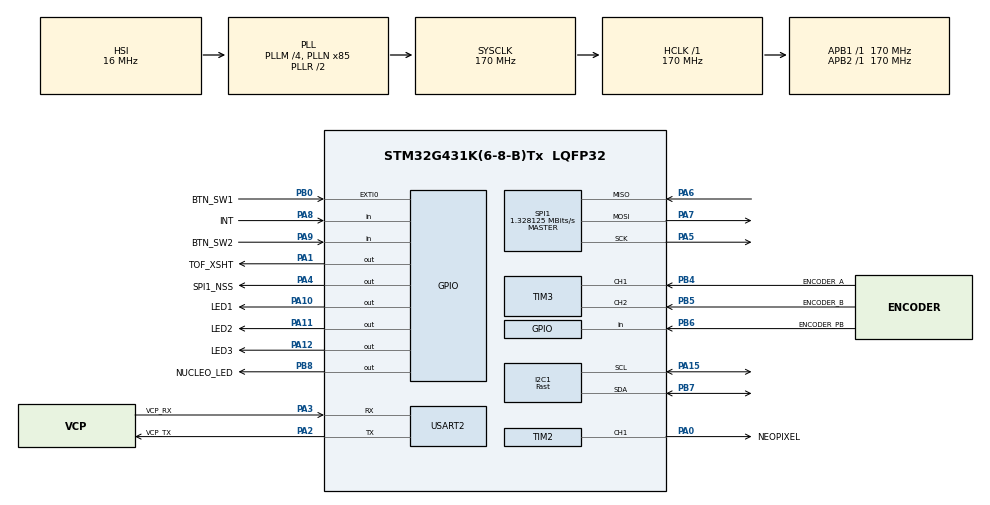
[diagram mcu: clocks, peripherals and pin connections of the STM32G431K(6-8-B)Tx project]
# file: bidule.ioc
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Dma.Request0=TIM2_CH1
Dma.TIM2_CH1.0.Direction=DMA_MEMORY_TO_PERIPH
Dma.TIM2_CH1.0.EventEnable=DISABLE
Dma.TIM2_CH1.0.Instance=DMA1_Channel1
Dma.TIM2_CH1.0.MemDataAlignment=DMA_MDATAALIGN_BYTE
Dma.TIM2_CH1.0.MemInc=DMA_MINC_ENABLE
Dma.TIM2_CH1.0.Mode=DMA_CIRCULAR
Dma.TIM2_CH1.0.PeriphDataAlignment=DMA_PDATAALIGN_WORD
Dma.TIM2_CH1.0.PeriphInc=DMA_PINC_DISABLE
Dma.TIM2_CH1.0.Polarity=HAL_DMAMUX_REQ_GEN_RISING
Dma.TIM2_CH1.0.Priority=DMA_PRIORITY_LOW
Dma.TIM2_CH1.0.RequestNumber=1
Dma.TIM2_CH1.0.SignalID=NONE
Dma.TIM2_CH1.0.SyncEnable=DISABLE
Dma.TIM2_CH1.0.SyncPolarity=HAL_DMAMUX_SYNC_NO_EVENT
Dma.TIM2_CH1.0.SyncRequestNumber=1
Dma.TIM2_CH1.0.SyncSignalID=NONE
FREERTOS.Tasks01=defaultTask,0,128,StartDefaultTask,Default,NULL,Dynamic,NULL,NULL
FREERTOS.configTOTAL_HEAP_SIZE=20000
I2C1.I2C_Speed_Mode=I2C_Fast
I2C1.Timing=0x40621236
Mcu.Family=STM32G4
Mcu.Name=STM32G431K(6-8-B)Tx
Mcu.Package=LQFP32
NVIC.DMA1_Channel1_IRQn=true\:5\:0\:false\:false\:true\:true\:false\:true\:true
NVIC.I2C1_ER_IRQn=true\:5\:0\:false\:false\:true\:true\:true\:true\:true
NVIC.I2C1_EV_IRQn=true\:5\:0\:false\:false\:true\:true\:true\:true\:true
NVIC.PriorityGroup=NVIC_PRIORITYGROUP_4
NVIC.TIM2_IRQn=true\:5\:0\:false\:false\:true\:true\:true\:true\:true
NVIC.TIM6_DAC_IRQn=true\:15\:0\:false\:false\:true\:false\:false\:true\:true
NVIC.TimeBase=TIM6_DAC_IRQn
NVIC.TimeBaseIP=TIM6
PA0.GPIO_Label=NEOPIXEL
PA0.Signal=S_TIM2_CH1
PA1.GPIO_Label=TOF_XSHT
PA1.Signal=GPIO_Output
PA10.GPIO_Label=LED1
PA10.Signal=GPIO_Output
PA11.GPIO_Label=LED2
PA11.Signal=GPIO_Output
PA12.GPIO_Label=LED3
PA12.Signal=GPIO_Output
PA13.GPIO_Label=T_SWDIO
PA13.Mode=Trace_Asynchronous_SW
PA13.Signal=SYS_JTMS-SWDIO
PA14.GPIO_Label=T_SWCLK
PA14.Mode=Trace_Asynchronous_SW
PA14.Signal=SYS_JTCK-SWCLK
PA15.GPIO_Pu=GPIO_PULLUP
PA15.Mode=I2C
PA15.Signal=I2C1_SCL
PA2.GPIO_Label=VCP_TX
PA2.Mode=Asynchronous
PA2.Signal=USART2_TX
PA3.GPIO_Label=VCP_RX
PA3.Mode=Asynchronous
PA3.Signal=USART2_RX
PA4.GPIO_Label=SPI1_NSS
PA4.PinState=GPIO_PIN_SET
PA4.Signal=GPIO_Output
PA5.GPIO_Speed=GPIO_SPEED_FREQ_LOW
PA5.Mode=Full_Duplex_Master
PA5.Signal=SPI1_SCK
PA6.GPIO_Speed=GPIO_SPEED_FREQ_LOW
PA6.Mode=Full_Duplex_Master
PA6.Signal=SPI1_MISO
PA7.GPIO_Speed=GPIO_SPEED_FREQ_LOW
PA7.Mode=Full_Duplex_Master
PA7.Signal=SPI1_MOSI
PA8.GPIO_Label=INT
PA8.Signal=GPIO_Input
PA9.GPIO_Label=BTN_SW2
PA9.GPIO_PuPd=GPIO_PULLUP
PA9.Signal=GPIO_Input
PB0.GPIO_Label=BTN_SW1
PB0.GPIO_PuPd=GPIO_PULLUP
PB0.Signal=GPXTI0
PB3.GPIO_Label=T_SWO
PB3.Mode=Trace_Asynchronous_SW
PB3.Signal=SYS_JTDO-SWO
PB4.GPIO_Label=ENCODER_A
PB4.GPIO_PuPd=GPIO_PULLUP
PB4.Signal=S_TIM3_CH1
PB5.GPIO_Label=ENCODER_B
PB5.GPIO_PuPd=GPIO_PULLUP
PB5.Signal=S_TIM3_CH2
PB6.GPIO_Label=ENCODER_PB
PB6.GPIO_PuPd=GPIO_PULLUP
PB6.Signal=GPIO_Input
PB7.GPIO_Pu=GPIO_PULLUP
PB7.Mode=I2C
PB7.Signal=I2C1_SDA
PB8-BOOT0.GPIO_Label=NUCLEO_LED
PB8-BOOT0.Signal=GPIO_Output
ProjectManager.HeapSize=0x200
ProjectManager.StackSize=0x400
ProjectManager.TargetToolchain=CMake
RCC.ADC12Freq_Value=170000000
RCC.AHBFreq_Value=170000000
RCC.APB1Freq_Value=170000000
RCC.APB1TimFreq_Value=170000000
RCC.APB2Freq_Value=170000000
RCC.APB2TimFreq_Value=170000000
RCC.CortexFreq_Value=170000000
RCC.EXTERNAL_CLOCK_VALUE=12288000
RCC.HCLKFreq_Value=170000000
RCC.HSE_VALUE=8000000
RCC.HSI48_VALUE=48000000
RCC.HSI_VALUE=16000000
RCC.LSE_VALUE=32768
RCC.PLLM=RCC_PLLM_DIV4
RCC.PLLN=85
RCC.SYSCLKFreq_VALUE=170000000
RCC.SYSCLKSource=RCC_SYSCLKSOURCE_PLLCLK
RCC.USBFreq_Value=170000000
RCC.VCOOutputFreq_Value=340000000
SH.S_TIM2_CH1.0=TIM2_CH1,PWM Generation1 CH1
SH.S_TIM3_CH1.0=TIM3_CH1,Encoder_Interface
SH.S_TIM3_CH2.0=TIM3_CH2,Encoder_Interface
SPI1.BaudRatePrescaler=SPI_BAUDRATEPRESCALER_128
SPI1.CLKPhase=SPI_PHASE_2EDGE
SPI1.CLKPolarity=SPI_POLARITY_HIGH
SPI1.CalculateBaudRate=1.328125 MBits/s
SPI1.DataSize=SPI_DATASIZE_8BIT
SPI1.Direction=SPI_DIRECTION_2LINES
SPI1.Mode=SPI_MODE_MASTER
SPI1.VirtualType=VM_MASTER
TIM2.Channel-PWM\ Generation1\ CH1=TIM_CHANNEL_1
TIM2.PeriodNoDither=212
USART2.VirtualMode-Asynchronous=VM_ASYNC
VP_FREERTOS_VS_CMSIS_V1.Mode=CMSIS_V1
VP_SYS_VS_DBSignals.Mode=DisableDeadBatterySignals
VP_SYS_VS_tim6.Mode=TIM6
board=NUCLEO-G431KB

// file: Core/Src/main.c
/* USER CODE BEGIN Header */
/**
 ******************************************************************************
 * @file           : main.c
 * @brief          : Main program body
 ******************************************************************************
 * @attention
 *
 * Copyright (c) 2026 STMicroelectronics.
 * All rights reserved.
 *
 * This software is licensed under terms that can be found in the LICENSE file
 * in the root directory of this software component.
 * If no LICENSE file comes with this software, it is provided AS-IS.
 *
 ******************************************************************************
 */
/* USER CODE END Header */
#include "main.h"
#include "cmsis_os.h"
#include "dma.h"
#include "i2c.h"
#include "spi.h"
#include "tim.h"
#include "usart.h"
#include "gpio.h"

/* USER CODE BEGIN Includes */
#include <stdio.h>
/* USER CODE END Includes */

void SystemClock_Config(void);
void MX_FREERTOS_Init(void);

/* USER CODE BEGIN 0 */
int __io_putchar(int chr) {
	HAL_UART_Transmit(&huart2, (uint8_t*)&chr, 1, HAL_MAX_DELAY);
	return chr;
}

void task_led1(void * unused) {
	(void)unused;	// Rappelle au compilateur qu'on ne se sert pas du paramètre

	for (;;) {
		HAL_GPIO_WritePin(LED1_GPIO_Port, LED1_Pin, GPIO_PIN_SET);
		vTaskDelay(250);		// Délai en millisecondes
		HAL_GPIO_WritePin(LED1_GPIO_Port, LED1_Pin, GPIO_PIN_RESET);
		vTaskDelay(250);
	}
}

void task_led2(void * unused) {
	for (;;) {
		HAL_GPIO_WritePin(LED2_GPIO_Port, LED2_Pin, GPIO_PIN_SET);
		vTaskDelay(250);		// Délai en millisecondes
		HAL_GPIO_WritePin(LED2_GPIO_Port, LED2_Pin, GPIO_PIN_RESET);
		vTaskDelay(250);
	}
}

void task_led3(void * unused) {
	for (;;) {
		HAL_GPIO_WritePin(LED3_GPIO_Port, LED3_Pin, GPIO_PIN_SET);
		vTaskDelay(300);		// Délai en millisecondes
		HAL_GPIO_WritePin(LED3_GPIO_Port, LED3_Pin, GPIO_PIN_RESET);
		vTaskDelay(300);
	}
}
/* USER CODE END 0 */

int main(void)
{

	/* MCU Configuration--------------------------------------------------------*/

	/* Reset of all peripherals, Initializes the Flash interface and the Systick. */
	HAL_Init();

	/* Configure the system clock */
	SystemClock_Config();

	/* Initialize all configured peripherals */
	MX_GPIO_Init();
	MX_DMA_Init();
	MX_I2C1_Init();
	MX_TIM3_Init();
	MX_TIM2_Init();
	MX_USART2_UART_Init();
	MX_SPI1_Init();
	/* USER CODE BEGIN 2 */
	printf("\r\n===== MSC TD RTOS =====\r\n");

	BaseType_t ret;

	ret = xTaskCreate(task_led1, "LED1", 256, NULL, 3, NULL);
	if (ret != pdPASS) {
		printf("Error cannot create task LED1\r\n");
		Error_Handler();
	}

	if (xTaskCreate(task_led2, "LED2", 256, NULL, 2, NULL) != pdPASS) {
		printf("Error cannot create task LED2\r\n");
		Error_Handler();
	}
	if (xTaskCreate(task_led3, "LED3", 256, NULL, 1, NULL) != pdPASS) {
		printf("Error cannot create task LED3\r\n");
		Error_Handler();
	}

	vTaskStartScheduler();	// Cette fonction contient une boucle infinie
	// On n'exécute jamais la suite
	/* USER CODE END 2 */

	/* Call init function for freertos objects (in cmsis_os2.c) */
	MX_FREERTOS_Init();

	/* Start scheduler */
	osKernelStart();

	/* We should never get here as control is now taken by the scheduler */

	/* Infinite loop */
	while (1)
	{

	}
}

void SystemClock_Config(void)
{
	RCC_OscInitTypeDef RCC_OscInitStruct = {0};
	RCC_ClkInitTypeDef RCC_ClkInitStruct = {0};

	/** Configure the main internal regulator output voltage
	 */
	HAL_PWREx_ControlVoltageScaling(PWR_REGULATOR_VOLTAGE_SCALE1_BOOST);

	/** Initializes the RCC Oscillators according to the specified parameters
	 * in the RCC_OscInitTypeDef structure.
	 */
	RCC_OscInitStruct.OscillatorType = RCC_OSCILLATORTYPE_HSI;
	RCC_OscInitStruct.HSIState = RCC_HSI_ON;
	RCC_OscInitStruct.HSICalibrationValue = RCC_HSICALIBRATION_DEFAULT;
	RCC_OscInitStruct.PLL.PLLState = RCC_PLL_ON;
	RCC_OscInitStruct.PLL.PLLSource = RCC_PLLSOURCE_HSI;
	RCC_OscInitStruct.PLL.PLLM = RCC_PLLM_DIV4;
	RCC_OscInitStruct.PLL.PLLN = 85;
	RCC_OscInitStruct.PLL.PLLP = RCC_PLLP_DIV2;
	RCC_OscInitStruct.PLL.PLLQ = RCC_PLLQ_DIV2;
	RCC_OscInitStruct.PLL.PLLR = RCC_PLLR_DIV2;
	if (HAL_RCC_OscConfig(&RCC_OscInitStruct) != HAL_OK)
	{
		Error_Handler();
	}

	/** Initializes the CPU, AHB and APB buses clocks
	 */
	RCC_ClkInitStruct.ClockType = RCC_CLOCKTYPE_HCLK|RCC_CLOCKTYPE_SYSCLK
			|RCC_CLOCKTYPE_PCLK1|RCC_CLOCKTYPE_PCLK2;
	RCC_ClkInitStruct.SYSCLKSource = RCC_SYSCLKSOURCE_PLLCLK;
	RCC_ClkInitStruct.AHBCLKDivider = RCC_SYSCLK_DIV1;
	RCC_ClkInitStruct.APB1CLKDivider = RCC_HCLK_DIV1;
	RCC_ClkInitStruct.APB2CLKDivider = RCC_HCLK_DIV1;

	if (HAL_RCC_ClockConfig(&RCC_ClkInitStruct, FLASH_LATENCY_4) != HAL_OK)
	{
		Error_Handler();
	}
}

void HAL_TIM_PeriodElapsedCallback(TIM_HandleTypeDef *htim)
{
	if (htim->Instance == TIM6)
	{
		HAL_IncTick();
	}
}

void Error_Handler(void)
{
	__disable_irq();
	while (1)
	{
	}
}
